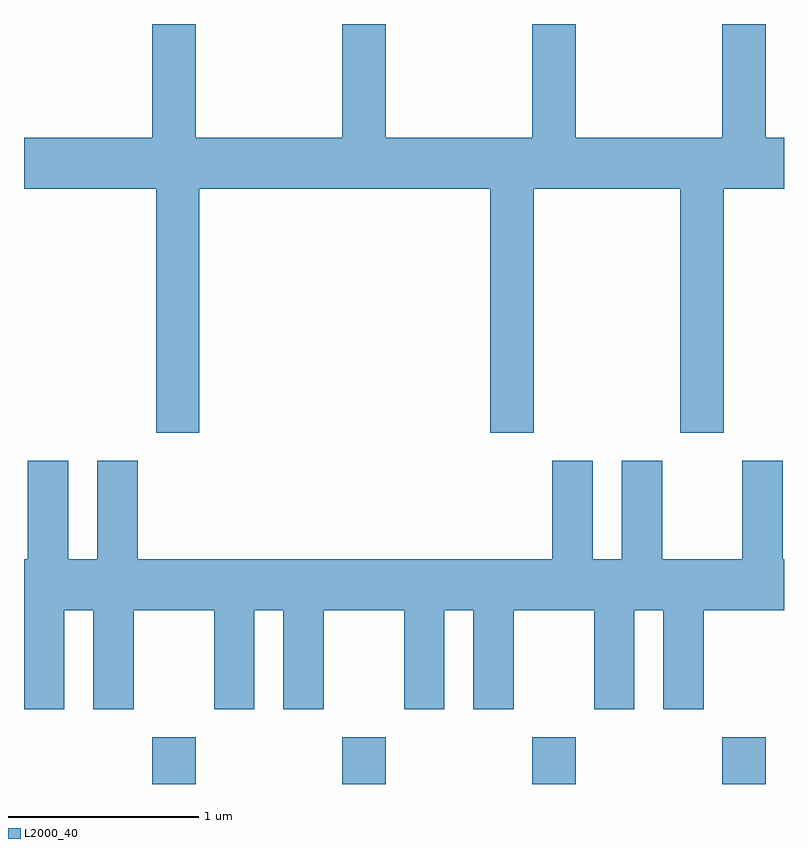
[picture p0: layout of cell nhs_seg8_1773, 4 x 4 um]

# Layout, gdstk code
import gdstk
lib = gdstk.Library(unit=1e-6, precision=1e-09)
def R(c, l, rs):  # rectangles x0, y0, x1, y1
    for r in rs: c.add(gdstk.rectangle(r[:2], r[2:], *l))
def A(c, l, x, y, w, h, nx, ny, dx, dy):  # array of equal rectangles
    R(c, l, [(x+i*dx, y+j*dy, x+i*dx+w, y+j*dy+h) for i in range(nx) for j in range(ny)])
def P(c, l, *ps):  # polygons
    for p in ps: c.add(gdstk.Polygon(p, *l))
L2000_40 = (2000, 40)

nhs_seg8_1773 = lib.new_cell('nhs_seg8_1773')
A(nhs_seg8_1773, L2000_40, 238.286, 1884.342, 0.228, 0.247, 4, 1, 1, 0)
P(nhs_seg8_1773, L2000_40, [(238.534,1887.476),(240.066,1887.476),(240.066,1886.191),(240.294,1886.191),(240.294,1887.476),(241.066,1887.476),(241.066,1886.191),(241.294,1886.191),(241.294,1887.476),(241.611,1887.476),(241.611,1887.744),(241.514,1887.744),(241.514,1888.342),(241.286,1888.342),(241.286,1887.744),(240.514,1887.744),(240.514,1888.342),(240.286,1888.342),(240.286,1887.744),(239.514,1887.744),(239.514,1888.342),(239.286,1888.342),(239.286,1887.744),(238.514,1887.744),(238.514,1888.342),(238.286,1888.342),(238.286,1887.744),(237.611,1887.744),(237.611,1887.476),(238.306,1887.476),(238.306,1886.191),(238.534,1886.191)],
  [(238.209,1886.044),(237.996,1886.044),(237.996,1885.524),(237.844,1885.524),(237.844,1886.044),(237.631,1886.044),(237.631,1885.524),(237.611,1885.524),(237.611,1884.736),(237.824,1884.736),(237.824,1885.256),(237.976,1885.256),(237.976,1884.736),(238.189,1884.736),(238.189,1885.256),(238.611,1885.256),(238.611,1884.736),(238.824,1884.736),(238.824,1885.256),(238.976,1885.256),(238.976,1884.736),(239.189,1884.736),(239.189,1885.256),(239.611,1885.256),(239.611,1884.736),(239.824,1884.736),(239.824,1885.256),(239.976,1885.256),(239.976,1884.736),(240.189,1884.736),(240.189,1885.256),(240.611,1885.256),(240.611,1884.736),(240.824,1884.736),(240.824,1885.256),(240.976,1885.256),(240.976,1884.736),(241.189,1884.736),(241.189,1885.256),(241.611,1885.256),(241.611,1885.524),(241.604,1885.524),(241.604,1886.044),(241.391,1886.044),(241.391,1885.524),(240.969,1885.524),(240.969,1886.044),(240.756,1886.044),(240.756,1885.524),(240.604,1885.524),(240.604,1886.044),(240.391,1886.044),(240.391,1885.524),(238.209,1885.524)])

lib.write_gds('nhs_seg8_1773.gds')
